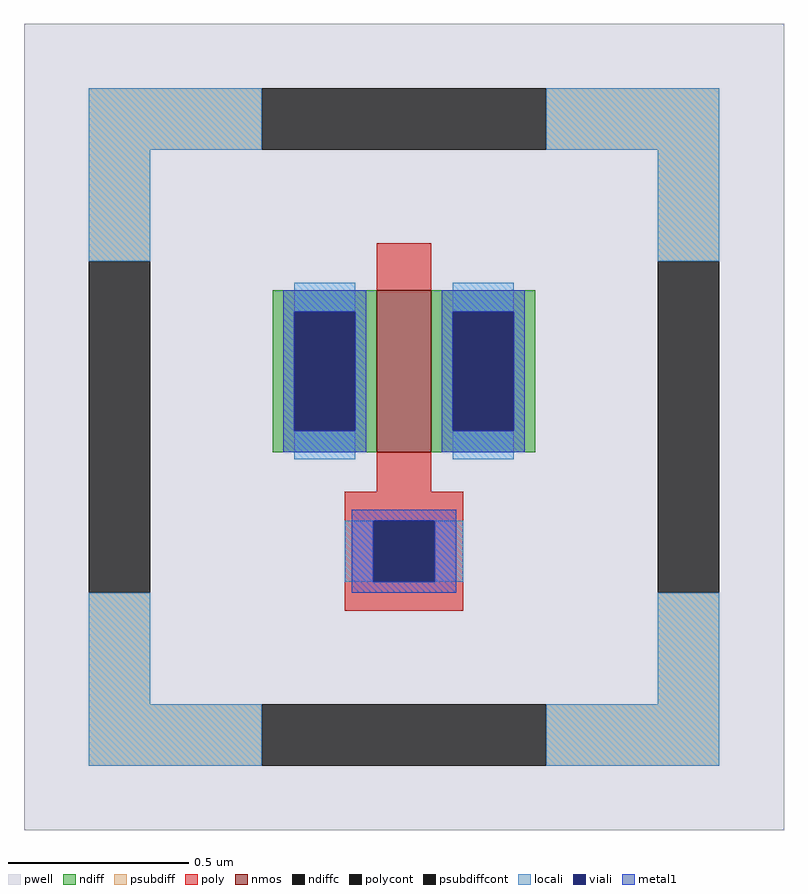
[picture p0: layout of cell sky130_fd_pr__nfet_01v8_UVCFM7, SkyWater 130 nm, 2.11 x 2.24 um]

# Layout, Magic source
magic
tech sky130A
magscale 1 2
<< pwell >>
rect -211 -224 211 224
<< nmos >>
rect -15 -14 15 76
<< ndiff >>
rect -73 64 -15 76
rect -73 -2 -61 64
rect -27 -2 -15 64
rect -73 -14 -15 -2
rect 15 64 73 76
rect 15 -2 27 64
rect 61 -2 73 64
rect 15 -14 73 -2
<< ndiffc >>
rect -61 -2 -27 64
rect 27 -2 61 64
<< psubdiff >>
rect -175 154 -79 188
rect 79 154 175 188
rect -175 92 -141 154
rect 141 92 175 154
rect -175 -154 -141 -92
rect 141 -154 175 -92
rect -175 -188 -79 -154
rect 79 -188 175 -154
<< psubdiffcont >>
rect -79 154 79 188
rect -175 -92 -141 92
rect 141 -92 175 92
rect -79 -188 79 -154
<< poly >>
rect -15 76 15 102
rect -15 -36 15 -14
rect -33 -52 33 -36
rect -33 -86 -17 -52
rect 17 -86 33 -52
rect -33 -102 33 -86
<< polycont >>
rect -17 -86 17 -52
<< locali >>
rect -175 154 -79 188
rect 79 154 175 188
rect -175 92 -141 154
rect 141 92 175 154
rect -61 64 -27 80
rect -61 -18 -27 -2
rect 27 64 61 80
rect 27 -18 61 -2
rect -33 -86 -17 -52
rect 17 -86 33 -52
rect -175 -154 -141 -92
rect 141 -154 175 -92
rect -175 -188 -79 -154
rect 79 -188 175 -154
<< viali >>
rect -61 -2 -27 64
rect 27 -2 61 64
rect -17 -86 17 -52
<< metal1 >>
rect -67 64 -21 76
rect -67 -2 -61 64
rect -27 -2 -21 64
rect -67 -14 -21 -2
rect 21 64 67 76
rect 21 -2 27 64
rect 61 -2 67 64
rect 21 -14 67 -2
rect -29 -52 29 -46
rect -29 -86 -17 -52
rect 17 -86 29 -52
rect -29 -92 29 -86
<< properties >>
string gencell sky130_fd_pr__nfet_01v8
string FIXED_BBOX -158 -171 158 171
string parameters w 0.45 l 0.150 m 1 nf 1 diffcov 100 polycov 100 guard 1 glc 1 grc 1 gtc 1 gbc 1 tbcov 100 rlcov 100 topc 0 botc 1 poverlap 0 doverlap 1 lmin 0.15 wmin 0.42 compatible {sky130_fd_pr__nfet_01v8 sky130_fd_pr__nfet_01v8_lvt  sky130_fd_bs_flash__special_sonosfet_star  sky130_fd_pr__nfet_g5v0d10v5 sky130_fd_pr__nfet_05v0_nvt} full_metal 1 viasrc 100 viadrn 100 viagate 100 viagb 0 viagr 0 viagl 0 viagt 0
string library sky130
<< end >>
